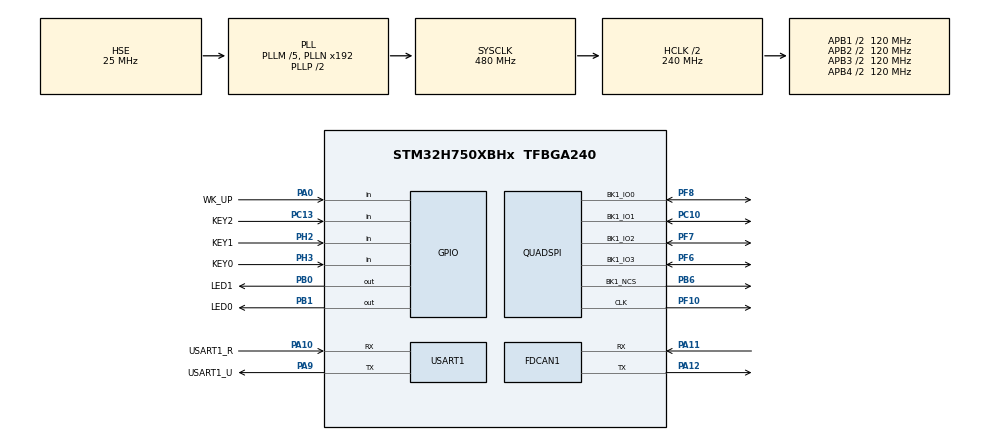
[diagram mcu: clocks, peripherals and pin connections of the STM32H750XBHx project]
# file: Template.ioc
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CORTEX_M7.default_mode_Activation=1
Dma.Request0=USART1_RX
Dma.USART1_RX.0.Direction=DMA_PERIPH_TO_MEMORY
Dma.USART1_RX.0.EventEnable=DISABLE
Dma.USART1_RX.0.FIFOMode=DMA_FIFOMODE_DISABLE
Dma.USART1_RX.0.Instance=DMA1_Stream0
Dma.USART1_RX.0.MemDataAlignment=DMA_MDATAALIGN_BYTE
Dma.USART1_RX.0.MemInc=DMA_MINC_ENABLE
Dma.USART1_RX.0.Mode=DMA_NORMAL
Dma.USART1_RX.0.PeriphDataAlignment=DMA_PDATAALIGN_BYTE
Dma.USART1_RX.0.PeriphInc=DMA_PINC_DISABLE
Dma.USART1_RX.0.Polarity=HAL_DMAMUX_REQ_GEN_RISING
Dma.USART1_RX.0.Priority=DMA_PRIORITY_LOW
Dma.USART1_RX.0.RequestNumber=1
Dma.USART1_RX.0.SignalID=NONE
Dma.USART1_RX.0.SyncEnable=DISABLE
Dma.USART1_RX.0.SyncPolarity=HAL_DMAMUX_SYNC_NO_EVENT
Dma.USART1_RX.0.SyncRequestNumber=1
Dma.USART1_RX.0.SyncSignalID=NONE
FDCAN1.AutoRetransmission=ENABLE
FDCAN1.CalculateBaudRateNominal=500000
FDCAN1.CalculateTimeBitNominal=2000
FDCAN1.CalculateTimeQuantumNominal=40.0
FDCAN1.DataPrescaler=1
FDCAN1.DataSyncJumpWidth=16
FDCAN1.DataTimeSeg1=31
FDCAN1.DataTimeSeg2=3
FDCAN1.ExtFiltersNbr=16
FDCAN1.NominalPrescaler=1
FDCAN1.NominalTimeSeg1=31
FDCAN1.NominalTimeSeg2=18
FDCAN1.RxBuffersNbr=8
FDCAN1.RxFifo0ElmtsNbr=32
FDCAN1.RxFifo1ElmtsNbr=32
FDCAN1.StdFiltersNbr=62
FDCAN1.TxFifoQueueElmtsNbr=32
Mcu.Family=STM32H7
Mcu.Name=STM32H750XBHx
Mcu.Package=TFBGA240
NVIC.DMA1_Stream0_IRQn=true\:5\:0\:true\:false\:true\:false\:true\:true
NVIC.FDCAN1_IT0_IRQn=true\:5\:0\:true\:false\:true\:true\:true\:true
NVIC.FDCAN1_IT1_IRQn=true\:5\:0\:true\:false\:true\:true\:true\:true
NVIC.FDCAN_CAL_IRQn=true\:5\:0\:true\:false\:true\:true\:true\:true
NVIC.PriorityGroup=NVIC_PRIORITYGROUP_4
NVIC.TIM6_DAC_IRQn=true\:15\:0\:false\:false\:true\:false\:true\:true
NVIC.TimeBase=TIM6_DAC_IRQn
NVIC.TimeBaseIP=TIM6
NVIC.USART1_IRQn=true\:5\:0\:true\:false\:true\:true\:true\:true
PA0.GPIO_Label=WK_UP
PA0.GPIO_PuPd=GPIO_PULLDOWN
PA0.Signal=GPIO_Input
PA10.GPIO_Label=USART1_R
PA10.GPIO_PuPd=GPIO_PULLUP
PA10.Mode=Asynchronous
PA10.Signal=USART1_RX
PA11.GPIO_PuPd=GPIO_PULLUP
PA11.GPIO_Speed=GPIO_SPEED_FREQ_VERY_HIGH
PA11.Mode=FDCAN_Activate
PA11.Signal=FDCAN1_RX
PA12.GPIO_PuPd=GPIO_PULLUP
PA12.GPIO_Speed=GPIO_SPEED_FREQ_VERY_HIGH
PA12.Mode=FDCAN_Activate
PA12.Signal=FDCAN1_TX
PA13\ (JTMS/SWDIO).Mode=Serial_Wire
PA13\ (JTMS/SWDIO).Signal=DEBUG_JTMS-SWDIO
PA14\ (JTCK/SWCLK).Mode=Serial_Wire
PA14\ (JTCK/SWCLK).Signal=DEBUG_JTCK-SWCLK
PA9.GPIO_Label=USART1_U
PA9.Mode=Asynchronous
PA9.Signal=USART1_TX
PB0.GPIO_Label=LED1
PB0.GPIO_PuPd=GPIO_PULLUP
PB0.PinState=GPIO_PIN_SET
PB0.Signal=GPIO_Output
PB1.GPIO_Label=LED0
PB1.GPIO_PuPd=GPIO_PULLUP
PB1.PinState=GPIO_PIN_SET
PB1.Signal=GPIO_Output
PB6.Mode=Single Bank 1
PB6.Signal=QUADSPI_BK1_NCS
PC10.Mode=Single Bank 1
PC10.Signal=QUADSPI_BK1_IO1
PC13.GPIO_Label=KEY2
PC13.GPIO_PuPd=GPIO_PULLUP
PC13.Signal=GPIO_Input
PF10.Mode=Single Bank 1
PF10.Signal=QUADSPI_CLK
PF6.Mode=Single Bank 1
PF6.Signal=QUADSPI_BK1_IO3
PF7.Mode=Single Bank 1
PF7.Signal=QUADSPI_BK1_IO2
PF8.Mode=Single Bank 1
PF8.Signal=QUADSPI_BK1_IO0
PH0-OSC_IN\ (PH0).Mode=HSE-External-Oscillator
PH0-OSC_IN\ (PH0).Signal=RCC_OSC_IN
PH1-OSC_OUT\ (PH1).Mode=HSE-External-Oscillator
PH1-OSC_OUT\ (PH1).Signal=RCC_OSC_OUT
PH2.GPIO_Label=KEY1
PH2.GPIO_PuPd=GPIO_PULLUP
PH2.Signal=GPIO_Input
PH3.GPIO_Label=KEY0
PH3.GPIO_PuPd=GPIO_PULLUP
PH3.Signal=GPIO_Input
ProjectManager.HeapSize=0x200
ProjectManager.StackSize=0x400
ProjectManager.TargetToolchain=MDK-ARM V5.32
QUADSPI.ChipSelectHighTime=QSPI_CS_HIGH_TIME_2_CYCLE
QUADSPI.ClockPrescaler=1
QUADSPI.FifoThreshold=32
QUADSPI.SampleShifting=QSPI_SAMPLE_SHIFTING_HALFCYCLE
RCC.ADCFreq_Value=50390625
RCC.APB1Freq_Value=120000000
RCC.APB2Freq_Value=120000000
RCC.APB3Freq_Value=120000000
RCC.APB4Freq_Value=120000000
RCC.CortexFreq_Value=480000000
RCC.D1PPRE=RCC_APB3_DIV2
RCC.D2PPRE1=RCC_APB1_DIV2
RCC.D2PPRE2=RCC_APB2_DIV2
RCC.D3PPRE=RCC_APB4_DIV2
RCC.DIVM1=5
RCC.DIVN1=192
RCC.DIVQ1=8
RCC.FDCANCLockSelection=RCC_FDCANCLKSOURCE_HSE
RCC.HCLKFreq_Value=240000000
RCC.HPRE=RCC_HCLK_DIV2
RCC.PLL2FRACN=0
RCC.PLL3FRACN=0
RCC.PLLFRACN=0
RCC.PLLSourceVirtual=RCC_PLLSOURCE_HSE
RCC.PWR_Regulator_Voltage_Scale=PWR_REGULATOR_VOLTAGE_SCALE0
RCC.SYSCLKFreq_VALUE=480000000
RCC.SYSCLKSource=RCC_SYSCLKSOURCE_PLLCLK
RCC.USBFreq_Value=120000000
USART1.VirtualMode-Asynchronous=VM_ASYNC
VP_MEMORYMAP_VS_MEMORYMAP.Mode=CurAppReg
VP_SYS_VS_tim6.Mode=TIM6
board=custom

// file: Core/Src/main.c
/* USER CODE BEGIN Header */
/**
  ******************************************************************************
  * @file           : main.c
  * @brief          : Main program body
  ******************************************************************************
  * @attention
  *
  * Copyright (c) 2026 STMicroelectronics.
  * All rights reserved.
  *
  * This software is licensed under terms that can be found in the LICENSE file
  * in the root directory of this software component.
  * If no LICENSE file comes with this software, it is provided AS-IS.
  *
  ******************************************************************************
  */
/* USER CODE END Header */
#include "main.h"
#include "dma.h"
#include "fdcan.h"
#include "quadspi.h"
#include "usart.h"
#include "gpio.h"

void SystemClock_Config(void);
static void MPU_Config(void);
/* USER CODE BEGIN PFP */
typedef struct {
    uint32_t size;
    uint32_t sum;
    char fileName[128];
} FirmwareInfo_Def;

const FirmwareInfo_Def *firmwareInfo = 0;
/* USER CODE END PFP */

int main(void)
{

  /* USER CODE BEGIN 1 */
   __disable_irq();
   SCB->VTOR = 0x90002000;
    SCB_DisableDCache();
    SCB_DisableICache();
    SCB_InvalidateICache();
    SCB_InvalidateDCache();
    __enable_irq();
    firmwareInfo = (FirmwareInfo_Def *)(0x90000000 + 0x400000ul);
    mpu_memory_protection();
  /* USER CODE END 1 */

  /* MPU Configuration--------------------------------------------------------*/
  //MPU_Config();

  /* MCU Configuration--------------------------------------------------------*/

  /* Reset of all peripherals, Initializes the Flash interface and the Systick. */
  HAL_Init();

  /* Configure the system clock */
  SystemClock_Config();

  /* Initialize all configured peripherals */
  MX_GPIO_Init();
  MX_DMA_Init();
  MX_USART1_UART_Init();
  //MX_QUADSPI_Init();
  MX_FDCAN1_Init();
  /* USER CODE BEGIN 2 */
   led_init();
    LED0(0);
   printf("test start \r\n");
   printf("test start  -->CAN\r\n");
   //printf SCPI-message
   SCPI_Config_Init();

    FDCAN_FilterTypeDef sFilterConfig;
    sFilterConfig.IdType = FDCAN_STANDARD_ID;
    sFilterConfig.FilterIndex = 0;
    sFilterConfig.FilterType = FDCAN_FILTER_MASK;
    sFilterConfig.FilterConfig = FDCAN_FILTER_TO_RXFIFO0;
    sFilterConfig.FilterID1 = 0x000;
    sFilterConfig.FilterID2 = 0x000;

    HAL_FDCAN_ConfigFilter(&hfdcan1, &sFilterConfig);
    HAL_FDCAN_ActivateNotification(&hfdcan1, FDCAN_IT_RX_FIFO0_NEW_MESSAGE, 0);

  /* USER CODE END 2 */

  /* Infinite loop */
  while (1)
  {

  }
}

void SystemClock_Config(void)
{
  RCC_OscInitTypeDef RCC_OscInitStruct = {0};
  RCC_ClkInitTypeDef RCC_ClkInitStruct = {0};

  /** Supply configuration update enable
  */
  HAL_PWREx_ConfigSupply(PWR_LDO_SUPPLY);

  /** Configure the main internal regulator output voltage
  */
  __HAL_PWR_VOLTAGESCALING_CONFIG(PWR_REGULATOR_VOLTAGE_SCALE0);

  while(!__HAL_PWR_GET_FLAG(PWR_FLAG_VOSRDY)) {}

  /** Initializes the RCC Oscillators according to the specified parameters
  * in the RCC_OscInitTypeDef structure.
  */
  RCC_OscInitStruct.OscillatorType = RCC_OSCILLATORTYPE_HSE;
  RCC_OscInitStruct.HSEState = RCC_HSE_ON;
  RCC_OscInitStruct.PLL.PLLState = RCC_PLL_ON;
  RCC_OscInitStruct.PLL.PLLSource = RCC_PLLSOURCE_HSE;
  RCC_OscInitStruct.PLL.PLLM = 5;
  RCC_OscInitStruct.PLL.PLLN = 192;
  RCC_OscInitStruct.PLL.PLLP = 2;
  RCC_OscInitStruct.PLL.PLLQ = 8;
  RCC_OscInitStruct.PLL.PLLR = 2;
  RCC_OscInitStruct.PLL.PLLRGE = RCC_PLL1VCIRANGE_2;
  RCC_OscInitStruct.PLL.PLLVCOSEL = RCC_PLL1VCOWIDE;
  RCC_OscInitStruct.PLL.PLLFRACN = 0;
  if (HAL_RCC_OscConfig(&RCC_OscInitStruct) != HAL_OK)
  {
    Error_Handler();
  }

  /** Initializes the CPU, AHB and APB buses clocks
  */
  RCC_ClkInitStruct.ClockType = RCC_CLOCKTYPE_HCLK|RCC_CLOCKTYPE_SYSCLK
                              |RCC_CLOCKTYPE_PCLK1|RCC_CLOCKTYPE_PCLK2
                              |RCC_CLOCKTYPE_D3PCLK1|RCC_CLOCKTYPE_D1PCLK1;
  RCC_ClkInitStruct.SYSCLKSource = RCC_SYSCLKSOURCE_PLLCLK;
  RCC_ClkInitStruct.SYSCLKDivider = RCC_SYSCLK_DIV1;
  RCC_ClkInitStruct.AHBCLKDivider = RCC_HCLK_DIV2;
  RCC_ClkInitStruct.APB3CLKDivider = RCC_APB3_DIV2;
  RCC_ClkInitStruct.APB1CLKDivider = RCC_APB1_DIV2;
  RCC_ClkInitStruct.APB2CLKDivider = RCC_APB2_DIV2;
  RCC_ClkInitStruct.APB4CLKDivider = RCC_APB4_DIV2;

  if (HAL_RCC_ClockConfig(&RCC_ClkInitStruct, FLASH_LATENCY_4) != HAL_OK)
  {
    Error_Handler();
  }
}

 /* MPU Configuration */

void MPU_Config(void)
{
  MPU_Region_InitTypeDef MPU_InitStruct = {0};

  /* Disables the MPU */
  HAL_MPU_Disable();

  /** Initializes and configures the Region and the memory to be protected
  */
  MPU_InitStruct.Enable = MPU_REGION_ENABLE;
  MPU_InitStruct.Number = MPU_REGION_NUMBER0;
  MPU_InitStruct.BaseAddress = 0x0;
  MPU_InitStruct.Size = MPU_REGION_SIZE_4GB;
  MPU_InitStruct.SubRegionDisable = 0x87;
  MPU_InitStruct.TypeExtField = MPU_TEX_LEVEL0;
  MPU_InitStruct.AccessPermission = MPU_REGION_NO_ACCESS;
  MPU_InitStruct.DisableExec = MPU_INSTRUCTION_ACCESS_DISABLE;
  MPU_InitStruct.IsShareable = MPU_ACCESS_SHAREABLE;
  MPU_InitStruct.IsCacheable = MPU_ACCESS_NOT_CACHEABLE;
  MPU_InitStruct.IsBufferable = MPU_ACCESS_NOT_BUFFERABLE;

  HAL_MPU_ConfigRegion(&MPU_InitStruct);
  /* Enables the MPU */
  HAL_MPU_Enable(MPU_PRIVILEGED_DEFAULT);

}

void HAL_TIM_PeriodElapsedCallback(TIM_HandleTypeDef *htim)
{
  if (htim->Instance == TIM6)
  {
    HAL_IncTick();
  }
}

void Error_Handler(void)
{
  __disable_irq();
  while (1)
  {
  }
}
